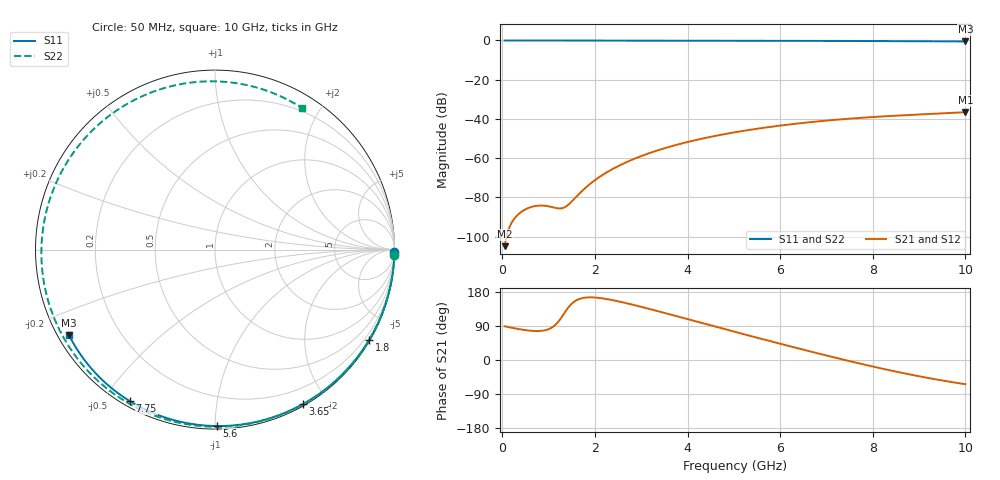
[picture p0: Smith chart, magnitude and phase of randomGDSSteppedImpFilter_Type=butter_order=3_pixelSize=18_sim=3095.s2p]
! freq	dB(S11)	phase(S11)	dB(S12)	phase(S12)
!  dB(S21)	phase(S21)	dB(S22)	phase(S22)
!S-par simulation data
#  GHz  S  DB  R 50
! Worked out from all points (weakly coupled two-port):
!   200 points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, 50 MHz to 10 GHz, reference 50 ohm
!   highest |S21| = -36.55 dB at 10 GHz (marker M1); lowest = -104.8 dB at 50 MHz (marker M2)
!   lowest |S11| = -0.5 dB at 10 GHz (marker M3), VSWR 34.12, Z = 1.57 - j13.6 ohm
!   |S11| at or under -10 dB: nowhere
!   |S22| runs from -0.7 to 0.0 dB; largest |S21 - S12| = 0
!   S11 on the Smith chart (normalised r, x): 50 MHz: open; 1.8 GHz: 0.03, -3.67; 3.65 GHz: 0.02, -1.72; 5.6 GHz: 0.02, -1.01; 7.75 GHz: 0.02, -0.59; 10 GHz: 0.03, -0.27
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0.05  -0.00 -0.9  -104.82 89.0  -104.82 89.0  -0.00 -1.7
0.75  -0.02 -12.8  -84.24 76.4  -84.24 76.4  -0.03 -25.0
1.55  -0.03 -26.4  -80.84 153.7  -80.84 153.7  -0.06 -50.9
1.6  -0.03 -27.2  -79.61 157.6  -79.61 157.6  -0.07 -52.4
1.75  -0.04 -29.7  -76.08 163.8  -76.08 163.8  -0.07 -57.1
1.8  -0.04 -30.5  -75.01 164.7  -75.01 164.7  -0.07 -58.7
2.1  -0.05 -35.5  -69.53 163.6  -69.53 163.6  -0.08 -68.0
2.45  -0.05 -41.2  -64.65 156.2  -64.65 156.2  -0.10 -78.5
2.9  -0.06 -48.5  -59.83 143.4  -59.83 143.4  -0.11 -91.7
3.4  -0.07 -56.4  -55.67 127.6  -55.67 127.6  -0.13 -106.0
3.65  -0.08 -60.3  -53.92 119.4  -53.92 119.4  -0.14 -113.0
4.4  -0.10 -71.8  -49.59 94.8  -49.59 94.8  -0.18 -133.4
5.05  -0.13 -81.5  -46.68 73.5  -46.68 73.5  -0.21 -150.8
5.6  -0.15 -89.5  -44.65 55.7  -44.65 55.7  -0.25 -165.5
6.15  -0.17 -97.3  -42.94 38.2  -42.94 38.2  -0.29 179.6
6.7  -0.20 -105.0  -41.51 21.0  -41.51 21.0  -0.33 164.3
7.2  -0.24 -111.8  -40.42 5.9  -40.42 5.9  -0.38 150.0
7.75  -0.28 -119.3  -39.42 -10.2  -39.42 -10.2  -0.43 133.5
8.35  -0.33 -127.4  -38.53 -26.7  -38.53 -26.7  -0.48 114.7
8.8  -0.37 -133.4  -37.96 -38.2  -37.96 -38.2  -0.53 99.9
9.2  -0.41 -138.8  -37.50 -47.6  -37.50 -47.6  -0.57 86.3
10  -0.51 -149.6  -36.55 -63.8  -36.55 -63.8  -0.67 58.3
